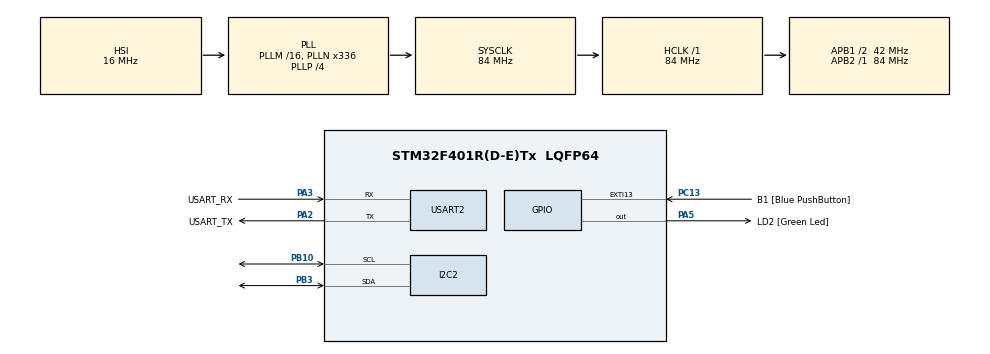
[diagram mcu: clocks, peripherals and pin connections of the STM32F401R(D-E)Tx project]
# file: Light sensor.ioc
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Mcu.Family=STM32F4
Mcu.Name=STM32F401R(D-E)Tx
Mcu.Package=LQFP64
NVIC.PriorityGroup=NVIC_PRIORITYGROUP_0
PA13.GPIO_Label=TMS
PA13.Mode=Serial_Wire
PA13.Signal=SYS_JTMS-SWDIO
PA14.GPIO_Label=TCK
PA14.Mode=Serial_Wire
PA14.Signal=SYS_JTCK-SWCLK
PA2.GPIO_Label=USART_TX
PA2.GPIO_Mode=GPIO_MODE_AF_PP
PA2.GPIO_PuPd=GPIO_NOPULL
PA2.GPIO_Speed=GPIO_SPEED_FREQ_LOW
PA2.Mode=Asynchronous
PA2.Signal=USART2_TX
PA3.GPIO_Label=USART_RX
PA3.GPIO_Mode=GPIO_MODE_AF_PP
PA3.GPIO_PuPd=GPIO_NOPULL
PA3.GPIO_Speed=GPIO_SPEED_FREQ_LOW
PA3.Mode=Asynchronous
PA3.Signal=USART2_RX
PA5.GPIO_Label=LD2 [Green Led]
PA5.GPIO_Mode=GPIO_MODE_OUTPUT_PP
PA5.GPIO_PuPd=GPIO_NOPULL
PA5.GPIO_Speed=GPIO_SPEED_FREQ_LOW
PA5.Signal=GPIO_Output
PB10.Mode=I2C
PB10.Signal=I2C2_SCL
PB3.Mode=I2C
PB3.Signal=I2C2_SDA
PC13-ANTI_TAMP.GPIO_Label=B1 [Blue PushButton]
PC13-ANTI_TAMP.GPIO_ModeDefaultEXTI=GPIO_MODE_IT_FALLING
PC13-ANTI_TAMP.GPIO_PuPd=GPIO_NOPULL
PC13-ANTI_TAMP.Signal=GPXTI13
PC14-OSC32_IN.Mode=LSE-External-Oscillator
PC14-OSC32_IN.Signal=RCC_OSC32_IN
PC15-OSC32_OUT.Mode=LSE-External-Oscillator
PC15-OSC32_OUT.Signal=RCC_OSC32_OUT
PH0\ -\ OSC_IN.Mode=HSE-External-Clock-Source
PH0\ -\ OSC_IN.Signal=RCC_OSC_IN
PH1\ -\ OSC_OUT.Mode=HSE-External-Clock-Source
PH1\ -\ OSC_OUT.Signal=RCC_OSC_OUT
ProjectManager.HeapSize=0x200
ProjectManager.StackSize=0x400
ProjectManager.TargetToolchain=STM32CubeIDE
RCC.48MHZClocksFreq_Value=48000000
RCC.AHBFreq_Value=84000000
RCC.APB1CLKDivider=RCC_HCLK_DIV2
RCC.APB1Freq_Value=42000000
RCC.APB1TimFreq_Value=84000000
RCC.APB2Freq_Value=84000000
RCC.APB2TimFreq_Value=84000000
RCC.CortexFreq_Value=84000000
RCC.HCLKFreq_Value=84000000
RCC.HSE_VALUE=8000000
RCC.HSI_VALUE=16000000
RCC.PLLN=336
RCC.PLLP=RCC_PLLP_DIV4
RCC.PLLQ=7
RCC.SYSCLKFreq_VALUE=84000000
RCC.SYSCLKSource=RCC_SYSCLKSOURCE_PLLCLK
RCC.VCOOutputFreq_Value=336000000
USART2.VirtualMode=VM_ASYNC
board=NUCLEO-F401RE

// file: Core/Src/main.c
/* USER CODE BEGIN Header */
/**
  ******************************************************************************
  * @file           : main.c
  * @brief          : Main program body
  ******************************************************************************
  * @attention
  *
  * Copyright (c) 2022 STMicroelectronics.
  * All rights reserved.
  *
  * This software is licensed under terms that can be found in the LICENSE file
  * in the root directory of this software component.
  * If no LICENSE file comes with this software, it is provided AS-IS.
  *
  ******************************************************************************
  */
/* USER CODE END Header */
#include "main.h"
#include "i2c.h"
#include "usart.h"

/* USER CODE BEGIN Includes */
#include "bh1750.h"

/* USER CODE END Includes */

/* USER CODE BEGIN PD */
#define STM_STUDIO
/* USER CODE END PD */

I2C_HandleTypeDef hi2c2;

UART_HandleTypeDef huart2;

/* USER CODE BEGIN PV */
float BH1750_lux;

/* USER CODE END PV */

void SystemClock_Config(void);
static void MX_GPIO_Init(void);
static void MX_USART2_UART_Init(void);
static void MX_I2C2_Init(void);
static void MX_NVIC_Init(void);

int main(void)
{

  /* MCU Configuration--------------------------------------------------------*/

  /* Reset of all peripherals, Initializes the Flash interface and the Systick. */
  HAL_Init();

  /* Configure the system clock */
  SystemClock_Config();

  /* Initialize all configured peripherals */
  MX_GPIO_Init();
  MX_USART2_UART_Init();
  MX_I2C2_Init();

  /* Initialize interrupts */
   MX_NVIC_Init();

  /* USER CODE BEGIN 2 */

   BH1750_Init(&hi2c2);
   BH1750_SetMode(CONTINUOUS_HIGH_RES_MODE_2);

  /* USER CODE END 2 */

  /* Infinite loop */
  /* USER CODE BEGIN WHILE */

   char buffer[40];
    uint8_t size;
  while (1)
  {
#ifdef STM_STUDIO

	  BH1750_ReadLight(&BH1750_lux);

#else
	  if(BH1750_OK == BH1750_ReadLight(&BH1750_lux))
	  {
		  size = sprintf(buffer, "BH1750 Lux: %.2f\n\r", BH1750_lux);
	  	  HAL_UART_Transmit(&huart2, (uint8_t*)buffer, size, 100);
	  }
	  HAL_Delay(200);
#endif
    /* USER CODE END WHILE */

  }
}

void SystemClock_Config(void)
{
  RCC_OscInitTypeDef RCC_OscInitStruct = {0};
  RCC_ClkInitTypeDef RCC_ClkInitStruct = {0};

  /** Configure the main internal regulator output voltage
  */
  __HAL_RCC_PWR_CLK_ENABLE();
  __HAL_PWR_VOLTAGESCALING_CONFIG(PWR_REGULATOR_VOLTAGE_SCALE2);

  /** Initializes the RCC Oscillators according to the specified parameters
  * in the RCC_OscInitTypeDef structure.
  */
  RCC_OscInitStruct.OscillatorType = RCC_OSCILLATORTYPE_HSI;
  RCC_OscInitStruct.HSIState = RCC_HSI_ON;
  RCC_OscInitStruct.HSICalibrationValue = RCC_HSICALIBRATION_DEFAULT;
  RCC_OscInitStruct.PLL.PLLState = RCC_PLL_ON;
  RCC_OscInitStruct.PLL.PLLSource = RCC_PLLSOURCE_HSI;
  RCC_OscInitStruct.PLL.PLLM = 16;
  RCC_OscInitStruct.PLL.PLLN = 336;
  RCC_OscInitStruct.PLL.PLLP = RCC_PLLP_DIV4;
  RCC_OscInitStruct.PLL.PLLQ = 7;
  if (HAL_RCC_OscConfig(&RCC_OscInitStruct) != HAL_OK)
  {
    Error_Handler();
  }

  /** Initializes the CPU, AHB and APB buses clocks
  */
  RCC_ClkInitStruct.ClockType = RCC_CLOCKTYPE_HCLK|RCC_CLOCKTYPE_SYSCLK
                              |RCC_CLOCKTYPE_PCLK1|RCC_CLOCKTYPE_PCLK2;
  RCC_ClkInitStruct.SYSCLKSource = RCC_SYSCLKSOURCE_PLLCLK;
  RCC_ClkInitStruct.AHBCLKDivider = RCC_SYSCLK_DIV1;
  RCC_ClkInitStruct.APB1CLKDivider = RCC_HCLK_DIV2;
  RCC_ClkInitStruct.APB2CLKDivider = RCC_HCLK_DIV1;

  if (HAL_RCC_ClockConfig(&RCC_ClkInitStruct, FLASH_LATENCY_2) != HAL_OK)
  {
    Error_Handler();
  }
}

static void MX_I2C2_Init(void)
{

  hi2c2.Instance = I2C2;
  hi2c2.Init.ClockSpeed = 100000;
  hi2c2.Init.DutyCycle = I2C_DUTYCYCLE_2;
  hi2c2.Init.OwnAddress1 = 0;
  hi2c2.Init.AddressingMode = I2C_ADDRESSINGMODE_7BIT;
  hi2c2.Init.DualAddressMode = I2C_DUALADDRESS_DISABLE;
  hi2c2.Init.OwnAddress2 = 0;
  hi2c2.Init.GeneralCallMode = I2C_GENERALCALL_DISABLE;
  hi2c2.Init.NoStretchMode = I2C_NOSTRETCH_DISABLE;
  if (HAL_I2C_Init(&hi2c2) != HAL_OK)
  {
    Error_Handler();
  }

}

static void MX_USART2_UART_Init(void)
{

  huart2.Instance = USART2;
  huart2.Init.BaudRate = 115200;
  huart2.Init.WordLength = UART_WORDLENGTH_8B;
  huart2.Init.StopBits = UART_STOPBITS_1;
  huart2.Init.Parity = UART_PARITY_NONE;
  huart2.Init.Mode = UART_MODE_TX_RX;
  huart2.Init.HwFlowCtl = UART_HWCONTROL_NONE;
  huart2.Init.OverSampling = UART_OVERSAMPLING_16;
  if (HAL_UART_Init(&huart2) != HAL_OK)
  {
    Error_Handler();
  }

}

static void MX_GPIO_Init(void)
{
  GPIO_InitTypeDef GPIO_InitStruct = {0};

  /* GPIO Ports Clock Enable */
  __HAL_RCC_GPIOC_CLK_ENABLE();
  __HAL_RCC_GPIOH_CLK_ENABLE();
  __HAL_RCC_GPIOA_CLK_ENABLE();
  __HAL_RCC_GPIOB_CLK_ENABLE();

  /*Configure GPIO pin Output Level */
  HAL_GPIO_WritePin(LD2_GPIO_Port, LD2_Pin, GPIO_PIN_RESET);

  /*Configure GPIO pin : B1_Pin */
  GPIO_InitStruct.Pin = B1_Pin;
  GPIO_InitStruct.Mode = GPIO_MODE_IT_FALLING;
  GPIO_InitStruct.Pull = GPIO_NOPULL;
  HAL_GPIO_Init(B1_GPIO_Port, &GPIO_InitStruct);

  /*Configure GPIO pin : LD2_Pin */
  GPIO_InitStruct.Pin = LD2_Pin;
  GPIO_InitStruct.Mode = GPIO_MODE_OUTPUT_PP;
  GPIO_InitStruct.Pull = GPIO_NOPULL;
  GPIO_InitStruct.Speed = GPIO_SPEED_FREQ_LOW;
  HAL_GPIO_Init(LD2_GPIO_Port, &GPIO_InitStruct);

}

void Error_Handler(void)
{
  __disable_irq();
  while (1)
  {
  }
}
